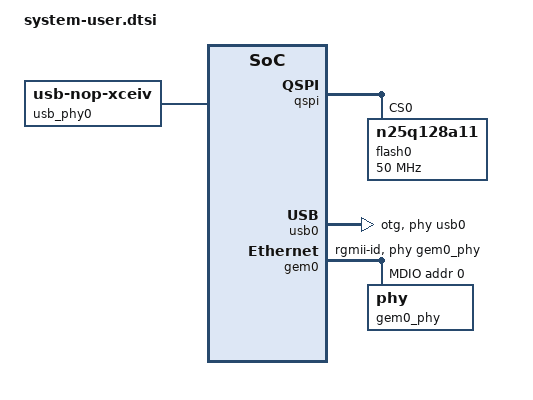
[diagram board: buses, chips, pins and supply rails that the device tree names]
/include/ "system-conf.dtsi"
/include/ "port-config.dtsi"
/ {

   xlnk {
      compatible = "xlnx,xlnk-1.0";
   };

};

/* QSPI partitions are defined with petalinux-config and described in system.conf.dtsi */
&qspi {
   #address-cells = <1>;
   #size-cells = <0>;
   status = "okay";
   is-dual = <0>;
   num-cs = <1>;
   flash0: flash@0 {
      compatible = "n25q128a11";
      reg = <0x0>;
      spi-tx-bus-width = <1>;
      spi-rx-bus-width = <4>;
      spi-max-frequency = <50000000>;      
      #address-cells = <1>;
      #size-cells = <1>;
   };
};

/ {
    usb_phy0:usb_phy@0 {
        compatible="usb-nop-xceiv";
        #phy-cells = <0>;
    };
};


&usb0 {
    dr_mode = "otg";
    usb-phy = <&usb0>;
};

/* gem0 = the board Ethernet port (RJ45), kept enabled so the image is
 * reachable over the board port; the FMC ports are the PL AXI Ethernet cores.
 * The generated DT describes no PHY for gem0 (no phy-handle), which makes
 * 2025.01 u-boot data-abort while probing it, so the PHY is described here
 * (MDIO address 0, rgmii-id). This dtb is also u-boot's control DT (BOOT.BIN
 * loads it at 0x100000). */
&gem0 {
    status = "okay";
    phy-mode = "rgmii-id";
    phy-handle = <&gem0_phy>;
    xlnx,has-mdio = <0x1>;
    mdio {
        #address-cells = <1>;
        #size-cells = <0>;
        gem0_phy: phy@0 {
            device_type = "ethernet-phy";
            reg = <0>;
        };
    };
};

